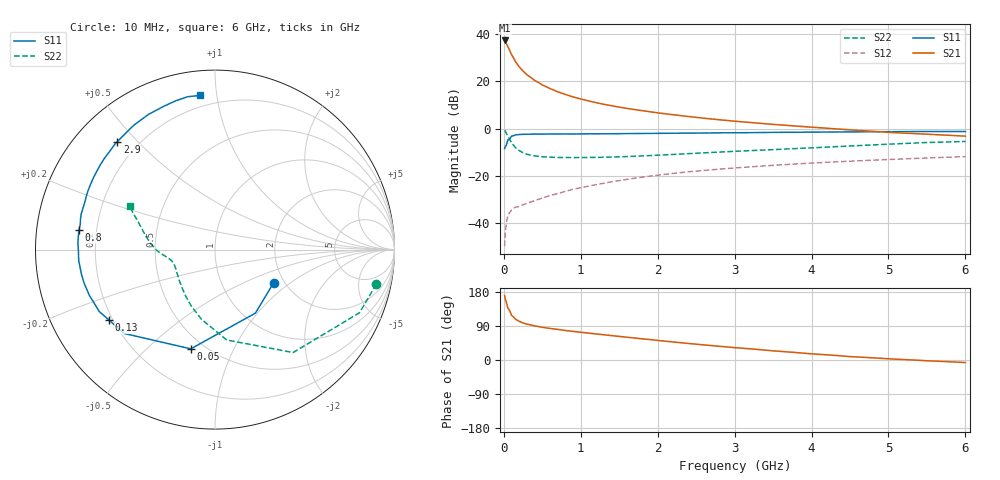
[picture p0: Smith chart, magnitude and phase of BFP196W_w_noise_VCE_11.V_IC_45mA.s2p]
! Infineon Technologies  Discrete & RF Semiconductors
! BFP196W
! VCE =  11. V,  IC =  45 mA
! Common Emitter S-Parameters:  Jan 2017
# GHz  S  MA  R  50
!  f  S11  S21  S12  S22
! GHz  MAG  ANG  MAG  ANG  MAG  ANG  MAG  ANG
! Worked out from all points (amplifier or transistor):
!   77 points, 10 MHz to 6 GHz, reference 50 ohm
!   highest |S21| = 37.3 dB at 10 MHz (marker M1)
!   |S21| within 3 dB of that: start of sweep to 58.75 MHz
!   unconditionally stable (mu >= 1): 761.2 MHz to 3.263 GHz
!   at 130 MHz: K = 0.37, MSG = 31.7 dB, |S12| = -33.8 dB
!   at 2.2 GHz: K = 1.04, MAG = 11.2 dB, |S12| = -19.0 dB
!   at 6 GHz: K = 0.92, MSG = 4.3 dB, |S12| = -11.9 dB
!   lowest NFmin = 1.31 dB at 450 MHz
!   S11 on the Smith chart (normalised r, x): 10 MHz: 1.76, -0.76; 50 MHz: 0.42, -0.69; 130 MHz: 0.19, -0.29; 800 MHz: 0.13, +0.07; 2.9 GHz: 0.12, +0.44; 6 GHz: 0.13, +0.90
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0.01  0.3755 -29.6  73.59 170.1  0.0032 74.7  0.9191 -12.1
0.02  0.4195 -57.6  70.38 160.1  0.0064 72.2  0.8787 -23.6
0.05  0.5692 -103.7  55.77 138.0  0.0142 53.2  0.7202 -52.8
0.1  0.6887 -137.3  36.82 117.8  0.0188 42.5  0.5079 -82.6
0.13  0.7087 -146.2  30.45 112.7  0.0204 40.7  0.4348 -92.5
0.15  0.7311 -151.8  26.39 108.0  0.0214 39.6  0.3954 -101.0
0.2  0.745 -160.0  20.32 101.9  0.0223 41.0  0.3403 -113.0
0.25  0.7531 -165.8  16.46 97.6  0.0242 40.6  0.3058 -122.4
0.3  0.7566 -169.7  13.8 94.6  0.0259 43.8  0.2846 -129.3
0.4  0.7617 -175.4  10.47 89.9  0.0294 47.5  0.2631 -139.1
0.5  0.761 -179.4  8.397 86.3  0.0335 51.0  0.2517 -145.6
0.6  0.7648 177.2  7.022 83.3  0.038 53.4  0.2473 -150.3
0.7  0.7649 174.6  6.015 80.7  0.0416 56.2  0.2432 -153.6
0.8  0.7662 171.8  5.273 77.9  0.0466 58.5  0.2427 -156.0
1.1  0.7714 165.0  3.851 71.0  0.0602 59.9  0.2432 -161.2
1.5  0.7772 157.0  2.837 62.2  0.0786 59.8  0.2515 -166.2
2.1  0.7912 145.5  2.052 49.7  0.1069 57.0  0.2765 -171.9
2.9  0.8109 132.2  1.48 34.5  0.1416 51.2  0.3223 -179.0
3.1  0.8148 129.1  1.385 31.1  0.1497 49.6  0.3339 179.1
4.1  0.8403 114.8  1.04 15.0  0.1884 41.7  0.3959 168.4
5.1  0.8584 103.9  0.814 2.2  0.2232 34.0  0.4729 158.3
6  0.8634 95.4  0.689 -6.7  0.2542 27.1  0.5306 152.9
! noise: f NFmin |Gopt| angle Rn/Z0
0.45  1.31  0.5  -177  0.05
0.9  1.44  0.54  -172  0.07
1.9  2.26  0.69  -150  0.15
2.4  2.66  0.73  -145  0.25
